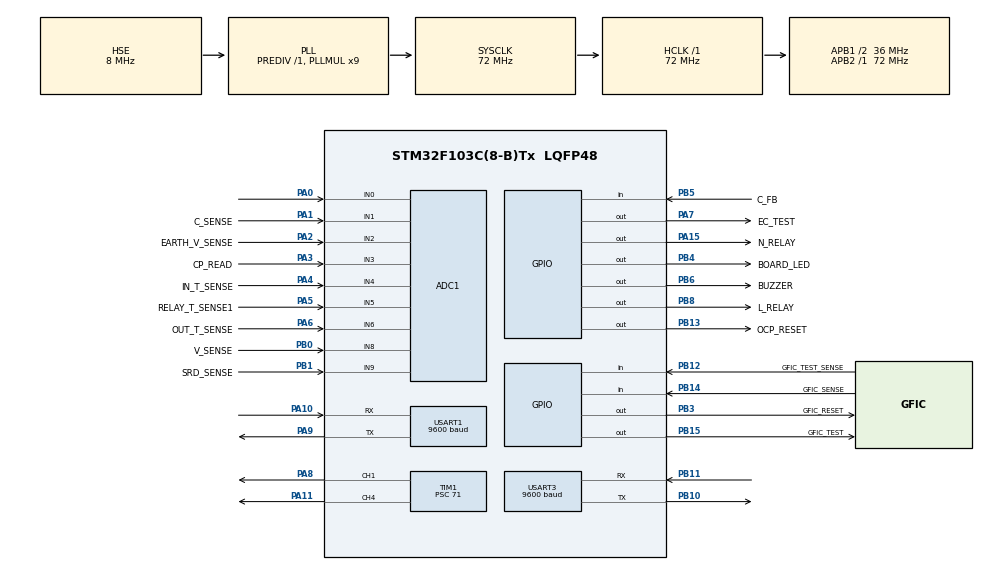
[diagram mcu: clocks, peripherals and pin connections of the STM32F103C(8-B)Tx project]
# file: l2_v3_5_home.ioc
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ADC1.Channel-10\#ChannelRegularConversion=ADC_CHANNEL_0
ADC1.Channel-12\#ChannelRegularConversion=ADC_CHANNEL_1
ADC1.Channel-13\#ChannelRegularConversion=ADC_CHANNEL_2
ADC1.Channel-14\#ChannelRegularConversion=ADC_CHANNEL_3
ADC1.Channel-15\#ChannelRegularConversion=ADC_CHANNEL_4
ADC1.Channel-16\#ChannelRegularConversion=ADC_CHANNEL_5
ADC1.Channel-17\#ChannelRegularConversion=ADC_CHANNEL_6
ADC1.Channel-18\#ChannelRegularConversion=ADC_CHANNEL_8
ADC1.Channel-19\#ChannelRegularConversion=ADC_CHANNEL_9
ADC1.Channel-21\#ChannelRegularConversion=ADC_CHANNEL_TEMPSENSOR
ADC1.Channel-22\#ChannelRegularConversion=ADC_CHANNEL_VREFINT
ADC1.ContinuousConvMode=ENABLE
ADC1.DataAlign=ADC_DATAALIGN_RIGHT
ADC1.EnableInjectedConversion=DISABLE
ADC1.ExternalTrigConv=ADC_SOFTWARE_START
ADC1.InjNumberOfConversion=1
ADC1.NbrOfConversion=11
ADC1.NbrOfConversionFlag=1
ADC1.Rank-10\#ChannelRegularConversion=1
ADC1.Rank-12\#ChannelRegularConversion=2
ADC1.Rank-13\#ChannelRegularConversion=3
ADC1.Rank-14\#ChannelRegularConversion=4
ADC1.Rank-15\#ChannelRegularConversion=5
ADC1.Rank-16\#ChannelRegularConversion=6
ADC1.Rank-17\#ChannelRegularConversion=7
ADC1.Rank-18\#ChannelRegularConversion=8
ADC1.Rank-19\#ChannelRegularConversion=9
ADC1.Rank-21\#ChannelRegularConversion=10
ADC1.Rank-22\#ChannelRegularConversion=11
ADC1.SamplingTime-10\#ChannelRegularConversion=ADC_SAMPLETIME_7CYCLES_5
ADC1.SamplingTime-12\#ChannelRegularConversion=ADC_SAMPLETIME_7CYCLES_5
ADC1.SamplingTime-13\#ChannelRegularConversion=ADC_SAMPLETIME_7CYCLES_5
ADC1.SamplingTime-14\#ChannelRegularConversion=ADC_SAMPLETIME_28CYCLES_5
ADC1.SamplingTime-15\#ChannelRegularConversion=ADC_SAMPLETIME_7CYCLES_5
ADC1.SamplingTime-16\#ChannelRegularConversion=ADC_SAMPLETIME_7CYCLES_5
ADC1.SamplingTime-17\#ChannelRegularConversion=ADC_SAMPLETIME_7CYCLES_5
ADC1.SamplingTime-18\#ChannelRegularConversion=ADC_SAMPLETIME_7CYCLES_5
ADC1.SamplingTime-19\#ChannelRegularConversion=ADC_SAMPLETIME_7CYCLES_5
ADC1.SamplingTime-21\#ChannelRegularConversion=ADC_SAMPLETIME_7CYCLES_5
ADC1.SamplingTime-22\#ChannelRegularConversion=ADC_SAMPLETIME_239CYCLES_5
ADC1.master=1
Dma.ADC1.0.Direction=DMA_PERIPH_TO_MEMORY
Dma.ADC1.0.Instance=DMA1_Channel1
Dma.ADC1.0.MemDataAlignment=DMA_MDATAALIGN_HALFWORD
Dma.ADC1.0.MemInc=DMA_MINC_ENABLE
Dma.ADC1.0.Mode=DMA_CIRCULAR
Dma.ADC1.0.PeriphDataAlignment=DMA_PDATAALIGN_HALFWORD
Dma.ADC1.0.PeriphInc=DMA_PINC_DISABLE
Dma.ADC1.0.Priority=DMA_PRIORITY_VERY_HIGH
Dma.Request0=ADC1
IWDG.Prescaler=IWDG_PRESCALER_64
IWDG.Reload=4094
Mcu.Family=STM32F1
Mcu.Name=STM32F103C(8-B)Tx
Mcu.Package=LQFP48
NVIC.ADC1_2_IRQn=true\:0\:0\:false\:false\:true\:true\:true\:true
NVIC.DMA1_Channel1_IRQn=true\:1\:0\:true\:false\:true\:false\:true\:true
NVIC.PriorityGroup=NVIC_PRIORITYGROUP_4
NVIC.TIM3_IRQn=true\:1\:0\:true\:false\:true\:true\:true\:true
NVIC.USART1_IRQn=true\:0\:0\:false\:false\:true\:true\:true\:true
NVIC.USART3_IRQn=true\:0\:0\:false\:false\:true\:true\:true\:true
PA0-WKUP.Signal=ADCx_IN0
PA1.GPIO_Label=C_SENSE
PA1.Signal=ADCx_IN1
PA10.Mode=Asynchronous
PA10.Signal=USART1_RX
PA11.Signal=S_TIM1_CH4
PA13.Mode=Serial_Wire
PA13.Signal=SYS_JTMS-SWDIO
PA14.Mode=Serial_Wire
PA14.Signal=SYS_JTCK-SWCLK
PA15.GPIO_Label=N_RELAY
PA15.Signal=GPIO_Output
PA2.GPIO_Label=EARTH_V_SENSE
PA2.Signal=ADCx_IN2
PA3.GPIO_Label=CP_READ
PA3.Signal=ADCx_IN3
PA4.GPIO_Label=IN_T_SENSE
PA4.Signal=ADCx_IN4
PA5.GPIO_Label=RELAY_T_SENSE1
PA5.Signal=ADCx_IN5
PA6.GPIO_Label=OUT_T_SENSE
PA6.Signal=ADCx_IN6
PA7.GPIO_Label=EC_TEST
PA7.Signal=GPIO_Output
PA8.Signal=S_TIM1_CH1
PA9.Mode=Asynchronous
PA9.Signal=USART1_TX
PB0.GPIO_Label=V_SENSE
PB0.Signal=ADCx_IN8
PB1.GPIO_Label=SRD_SENSE
PB1.Signal=ADCx_IN9
PB10.Mode=Asynchronous
PB10.Signal=USART3_TX
PB11.Mode=Asynchronous
PB11.Signal=USART3_RX
PB12.GPIO_Label=GFIC_TEST_SENSE
PB12.Signal=GPIO_Input
PB13.GPIO_Label=OCP_RESET
PB13.Signal=GPIO_Output
PB14.GPIO_Label=GFIC_SENSE
PB14.Signal=GPIO_Input
PB15.GPIO_Label=GFIC_TEST
PB15.Signal=GPIO_Output
PB3.GPIO_Label=GFIC_RESET
PB3.Signal=GPIO_Output
PB4.GPIO_Label=BOARD_LED
PB4.Signal=GPIO_Output
PB5.GPIO_Label=C_FB
PB5.Signal=GPIO_Input
PB6.GPIO_Label=BUZZER
PB6.Signal=GPIO_Output
PB8.GPIO_Label=L_RELAY
PB8.Signal=GPIO_Output
PD0-OSC_IN.Mode=HSE-External-Oscillator
PD0-OSC_IN.Signal=RCC_OSC_IN
PD1-OSC_OUT.Mode=HSE-External-Oscillator
PD1-OSC_OUT.Signal=RCC_OSC_OUT
ProjectManager.HeapSize=0x200
ProjectManager.StackSize=0x400
ProjectManager.TargetToolchain=STM32CubeIDE
RCC.ADCPresc=RCC_ADCPCLK2_DIV6
RCC.AHBFreq_Value=72000000
RCC.APB1CLKDivider=RCC_HCLK_DIV2
RCC.APB1Freq_Value=36000000
RCC.APB1TimFreq_Value=72000000
RCC.APB2Freq_Value=72000000
RCC.APB2TimFreq_Value=72000000
RCC.HCLKFreq_Value=72000000
RCC.HSE_Timout=5000
RCC.HSICalibrationValue=24
RCC.PLLMUL=RCC_PLL_MUL9
RCC.PLLSourceVirtual=RCC_PLLSOURCE_HSE
RCC.SYSCLKFreq_VALUE=72000000
RCC.SYSCLKSource=RCC_SYSCLKSOURCE_PLLCLK
RCC.USBFreq_Value=72000000
SH.ADCx_IN0.0=ADC1_IN0,IN0
SH.ADCx_IN1.0=ADC1_IN1,IN1
SH.ADCx_IN2.0=ADC1_IN2,IN2
SH.ADCx_IN3.0=ADC1_IN3,IN3
SH.ADCx_IN4.0=ADC1_IN4,IN4
SH.ADCx_IN5.0=ADC1_IN5,IN5
SH.ADCx_IN6.0=ADC1_IN6,IN6
SH.ADCx_IN8.0=ADC1_IN8,IN8
SH.ADCx_IN9.0=ADC1_IN9,IN9
SH.S_TIM1_CH1.0=TIM1_CH1,PWM Generation1 CH1
SH.S_TIM1_CH4.0=TIM1_CH4,PWM Generation4 CH4
TIM1.AutoReloadPreload=TIM_AUTORELOAD_PRELOAD_ENABLE
TIM1.Channel-PWM\ Generation1\ CH1=TIM_CHANNEL_1
TIM1.Channel-PWM\ Generation4\ CH4=TIM_CHANNEL_4
TIM1.Period=999
TIM1.Prescaler=71
TIM3.AutoReloadPreload=TIM_AUTORELOAD_PRELOAD_ENABLE
TIM3.Period=71
TIM3.Prescaler=499
USART1.BaudRate=9600
USART1.Parity=PARITY_EVEN
USART1.VirtualMode=VM_ASYNC
USART1.WordLength=WORDLENGTH_9B
USART3.BaudRate=9600
USART3.VirtualMode=VM_ASYNC
VP_ADC1_TempSens_Input.Mode=IN-TempSens
VP_ADC1_Vref_Input.Mode=IN-Vrefint
VP_IWDG_VS_IWDG.Mode=IWDG_Activate
VP_RTC_VS_RTC_Activate.Mode=RTC_Enabled
VP_RTC_VS_RTC_Calendar.Mode=RTC_Calendar
VP_TIM3_VS_ClockSourceINT.Mode=Internal
board=custom

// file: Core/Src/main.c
/* USER CODE BEGIN Header */
/**
 ******************************************************************************
 * @file           : main.c
 * @brief          : Main program body
 ******************************************************************************
 * @attention
 *
 * Copyright (c) 2022 STMicroelectronics.
 * All rights reserved.
 *
 * This software is licensed under terms that can be found in the LICENSE file
 * in the root directory of this software component.
 * If no LICENSE file comes with this software, it is provided AS-IS.
 *
 ******************************************************************************
 */
/* USER CODE END Header */
#include "main.h"
#include "adc.h"
#include "dma.h"
#include "iwdg.h"
#include "rtc.h"
#include "tim.h"
#include "usart.h"
#include "gpio.h"

/* USER CODE BEGIN Includes */
#include "stdio.h"
#include "math.h"
/* USER CODE END Includes */

/* USER CODE BEGIN PV */
uint16_t debug_count = 0;
bool watchdog_active = false;
/* USER CODE END PV */

void SystemClock_Config(void);

int main(void)
{

  /* MCU Configuration--------------------------------------------------------*/

  /* Reset of all peripherals, Initializes the Flash interface and the Systick. */
  HAL_Init();

  /* Configure the system clock */
  SystemClock_Config();

  /* Initialize all configured peripherals */
  MX_GPIO_Init();
  MX_DMA_Init();
  MX_ADC1_Init();
  MX_TIM1_Init();
  MX_TIM3_Init();
  MX_USART1_UART_Init();
  //MX_IWDG_Init();
  MX_USART3_UART_Init();
  MX_RTC_Init();
  /* USER CODE BEGIN 2 */

/*---------------------------------------------------
 Initialization function
 ---------------------------------------------------*/
HAL_TIM_Base_Start_IT(&htim3);
HAL_TIM_PWM_Start(&htim1, TIM_CHANNEL_1);
HAL_TIM_PWM_Start(&htim1, TIM_CHANNEL_4);
HAL_ADCEx_Calibration_Start(&hadc1);
HAL_ADC_Start_DMA(&hadc1, (uint32_t*) adc_store, 11);
//	HAL_UART_Receive_IT(&huart1, (uint8_t*) &serialRxPort2, 1);

#if RTC_ACTIVE
	MX_RTC_Init();
	initRTC();
#endif

	//! An enum.
	init_dataStructures();
	initializeStateMachine((StateMachine *)&sm);

	/*---------------------------------------------------
	 Get HW version
	 ---------------------------------------------------*/
//	get_HWVersion();

	/*---------------------------------------------------
	 calibrate CP values
	 ---------------------------------------------------*/
	calibrateCP(0);

	/*---------------------------------------------------
	 Reset GFI sensor
	 ---------------------------------------------------*/

	GFIC_RESET_ON();
	HAL_Delay(100);
	GFIC_RESET_OFF();

	run_GFITest = true;

	buzzer_poweron();
  /* USER CODE END 2 */

  /* Infinite loop */
  /* USER CODE BEGIN WHILE */
	/*---------------------------------------------------
	 Initialize serial peripheral and Modbus peripheral
	 ---------------------------------------------------*/
	CSMS_Init();
	ModbusRTU_Init();

	tick_clear(&timeout);
	tick_clear(&gfi_test);
	tick_clear(&rtc_checkCounter);
	tick_clear(&rtc_updateCounter);
	tick_clear(&serial_error);
	tick_clear(&load_balance5s);
	tick_clear(&error_handler);
  /* USER CODE END 2 */

  /* Infinite loop */
  /* USER CODE BEGIN WHILE */
	while (1)
	{
		/*---------------------------------------------------
		 Charger initial check
		 ---------------------------------------------------*/
		if (charger_init_flag == false)
		{
			if ((networkSide_bootup == true)			//Serial check
					&& (bootup_timeUpdate == true)		//RTC check
					&& ((timeout.timeout_30s == true) || (emeter_bootup == true)))		//Modbus check or 30sec Timeout
			{
				charger_init_flag = true;
			}
		}

		if (charger_setup_flag == false)
		{
			get_chargerConfig();
			charger_setup_flag = true;
		}

		if (charger_configSet.config_enable == true)
		{
			set_chargerConfig();
			charger_configSet.config_enable = false;
			HAL_Delay(100);
			HAL_NVIC_SystemReset();
		}

		/*---------------------------------------------------
		 Vehicle connector function
		 ---------------------------------------------------*/
		check_vehicleConnector();
		check_PWMActive();

		/*---------------------------------------------------
		 Diode check function
		 ---------------------------------------------------*/
#if DIODE_CHECK
		if (timeout.timeout_0_5s == true)
		{
			check_diode();
		}
#else
		diodeCheck_passed = true;
#endif
		/*---------------------------------------------------
		 Energy meter reading functions
		 ---------------------------------------------------*/
		ModbusRTU_functions();
		get_EnergyMeterData();

		/*---------------------------------------------------
		 Serial CRC calculation and filter functions
		 ---------------------------------------------------*/
#if SERIAL_ACTIVE
		if (charger_init_flag == true)
		{
			CSMS_functions();
		}
#endif
		transmitSerial();

		/*---------------------------------------------------
		 RTC functions
		 ---------------------------------------------------*/
#if RTC_ACTIVE
		//---------------------------------------------------- Update time at boot up
				if ((bootup_timeUpdate == false)
				/*&& (networkSide_data.timeReady == 1)*/)
				{
					bootup_timeUpdate = true;
					get_date();
					HAL_RTC_GetTime(&hrtc, &RtcTime, RTC_FORMAT_BIN);
					HAL_RTC_GetDate(&hrtc, &RtcDate, RTC_FORMAT_BIN);

					uint32_t unix_time_set = RTC_ToEpoch(&RtcTime, &RtcDate);
					HAL_RTCEx_BKUPWrite(&hrtc, RTC_BKP_DR1, (unix_time_set & 0xFFFF));
					HAL_RTCEx_BKUPWrite(&hrtc, RTC_BKP_DR2, (unix_time_set >> 16));
				}

				//---------------------------------------------------- Update alarms
				if (networkSide_data.alarmUpdate == 1)
				{
					updateAlarm();
				}
				//---------------------------------------------------- Alarm check
				if (rtc_checkCounter.timeout_10s == true)
				{
					tick_clear(&rtc_checkCounter);
					if ((networkSide_data.isInternet_available == 1)
							&& (networkSide_data.timeReady == 1))
					{
		//				RtcTime.Hours = networkSide_data.setTime.Hours;
		//				RtcTime.Minutes = networkSide_data.setTime.Minutes;
		//				RtcDate.Date = networkSide_data.setDate.Date;
		//				RtcDate.Month = networkSide_data.setDate.Month;
		//				RtcDate.Year = networkSide_data.setDate.Year;
						updateRTC();
						updateAlarm();
					}
					else
					{
						HAL_RTC_GetTime(&hrtc, &RtcTime, RTC_FORMAT_BIN);
						HAL_RTC_GetDate(&hrtc, &RtcDate, RTC_FORMAT_BIN);

						uint32_t unix_time_set = RTC_ToEpoch(&RtcTime, &RtcDate);
						HAL_RTCEx_BKUPWrite(&hrtc, RTC_BKP_DR1,
								(unix_time_set & 0xFFFF));
						HAL_RTCEx_BKUPWrite(&hrtc, RTC_BKP_DR2, (unix_time_set >> 16));

						updateAlarm();
					}

					checkWeekday_Time();

					if (controlSide_data.networkSide_request.bit.rtcUpdateComplete
							== true)
					{
						controlSide_data.networkSide_request.bit.rtcUpdateComplete =
						false;
					}
					if (controlSide_data.networkSide_request.bit.rtcUpdateAlarmComplete
							== true)
					{
						controlSide_data.networkSide_request.bit.rtcUpdateAlarmComplete =
						false;
					}
				}
#else
		bootup_timeUpdate = true;
#endif

		/*---------------------------------------------------
		 Debug LED run function - added to debug serial error
		 ---------------------------------------------------*/
		debug_count++;
		if (debug_count >= 6000)
		{
			debug_count = 0;
			HAL_GPIO_TogglePin(BOARD_LED_GPIO_Port, BOARD_LED_Pin);
			temperature_NTC();
			controlSide_data.mcuTemp = (((1.43 - ((adc_store[9] / 4095.0) * VREF)) / 0.0043) + 25.0);
		}
    /*---------------------------------------------------
		 Energy meter reading functions
		 ---------------------------------------------------*/
		get_EnergyMeterData();

		/*---------------------------------------------------
		 Energy calculation functions
		 ---------------------------------------------------*/
		calculate_Energy();

		/*---------------------------------------------------
		 Watchdog function
		 ---------------------------------------------------*/
#if WATCHDOG_ENABLE
		if (watchdog_active == false)
		{
			watchdog_active = true;
			MX_IWDG_Init();
		}

		HAL_IWDG_Refresh(&hiwdg);
#endif

		/*---------------------------------------------------
		 Buzzer function
		 ---------------------------------------------------*/
		if (buzzer_en == true)
		{
			buzzer_en = false;
			buzzer_on();
		}

		/*---------------------------------------------------
		 Error logger
		 ---------------------------------------------------*/
		errorBuffer_log();
		errorBuffer_report();

		/*---------------------------------------------------
		 OTA Update
		 ---------------------------------------------------*/
		if (OTA_flag == true)
		{
			OTA_flag = false;
			Flag_up();
		}

//		GFIC_RESET_ON();
    /* USER CODE END WHILE */

	}
}

void SystemClock_Config(void)
{
  RCC_OscInitTypeDef RCC_OscInitStruct = {0};
  RCC_ClkInitTypeDef RCC_ClkInitStruct = {0};
  RCC_PeriphCLKInitTypeDef PeriphClkInit = {0};

  /** Initializes the RCC Oscillators according to the specified parameters
  * in the RCC_OscInitTypeDef structure.
  */
  RCC_OscInitStruct.OscillatorType = RCC_OSCILLATORTYPE_LSI|RCC_OSCILLATORTYPE_HSE;
  RCC_OscInitStruct.HSEState = RCC_HSE_ON;
  RCC_OscInitStruct.HSEPredivValue = RCC_HSE_PREDIV_DIV1;
  RCC_OscInitStruct.HSIState = RCC_HSI_ON;
  RCC_OscInitStruct.LSIState = RCC_LSI_ON;
  RCC_OscInitStruct.PLL.PLLState = RCC_PLL_ON;
  RCC_OscInitStruct.PLL.PLLSource = RCC_PLLSOURCE_HSE;
  RCC_OscInitStruct.PLL.PLLMUL = RCC_PLL_MUL9;
  if (HAL_RCC_OscConfig(&RCC_OscInitStruct) != HAL_OK)
  {
    Error_Handler();
  }

  /** Initializes the CPU, AHB and APB buses clocks
  */
  RCC_ClkInitStruct.ClockType = RCC_CLOCKTYPE_HCLK|RCC_CLOCKTYPE_SYSCLK
                              |RCC_CLOCKTYPE_PCLK1|RCC_CLOCKTYPE_PCLK2;
  RCC_ClkInitStruct.SYSCLKSource = RCC_SYSCLKSOURCE_PLLCLK;
  RCC_ClkInitStruct.AHBCLKDivider = RCC_SYSCLK_DIV1;
  RCC_ClkInitStruct.APB1CLKDivider = RCC_HCLK_DIV2;
  RCC_ClkInitStruct.APB2CLKDivider = RCC_HCLK_DIV1;

  if (HAL_RCC_ClockConfig(&RCC_ClkInitStruct, FLASH_LATENCY_2) != HAL_OK)
  {
    Error_Handler();
  }
  PeriphClkInit.PeriphClockSelection = RCC_PERIPHCLK_RTC|RCC_PERIPHCLK_ADC;
  PeriphClkInit.RTCClockSelection = RCC_RTCCLKSOURCE_LSI;
  PeriphClkInit.AdcClockSelection = RCC_ADCPCLK2_DIV6;
  if (HAL_RCCEx_PeriphCLKConfig(&PeriphClkInit) != HAL_OK)
  {
    Error_Handler();
  }
}

/* USER CODE BEGIN 4 */
//################################################################################
//--------------------------------------------------------------------------------
//			Timer interrupt handler	- 500us
//--------------------------------------------------------------------------------
void HAL_TIM_PeriodElapsedCallback(TIM_HandleTypeDef *htim)
{
	if (htim->Instance == TIM3)
	{
		/*---------------------------------------------------
		 Timers count functions
		 ---------------------------------------------------*/
		tick_count(&timeout);
		tick_count(&gfi_test);
		tick_count(&serial_error);
		tick_count(&load_balance5s);
		tick_count(&error_handler);

		//added by me
		tick_count(&rtc_checkCounter);

		/*---------------------------------------------------
		 Main state machine function
		 ---------------------------------------------------*/
		check_vehicleConnector();
		get_GPIOFeedback();

		if ((charger_init_flag == true) && (charger_setup_flag == true))
		{
			load_balance(0);
			monitor_cp();

			errorDetector();
			errorHandler();

//			sm_control_run();

			runStateMachine((StateMachine *)&sm);
		}

		/*---------------------------------------------------
		 CP duty set function
		 ---------------------------------------------------*/
		setCP_duty();

		static uint8_t CSMS_trigCount = 0;

		CSMS_trigCount++;

		if (CSMS_trigCount > 1) // 500 us adapter
		{
			CSMS_trigCount = 0;
			CSMS_Intick(); // 1ms timer
			ModbusRTU_Intick();
		}
	}
}
/* USER CODE END 4 */

void Error_Handler(void)
{
	__disable_irq();
	while (1)
	{
	}
}
